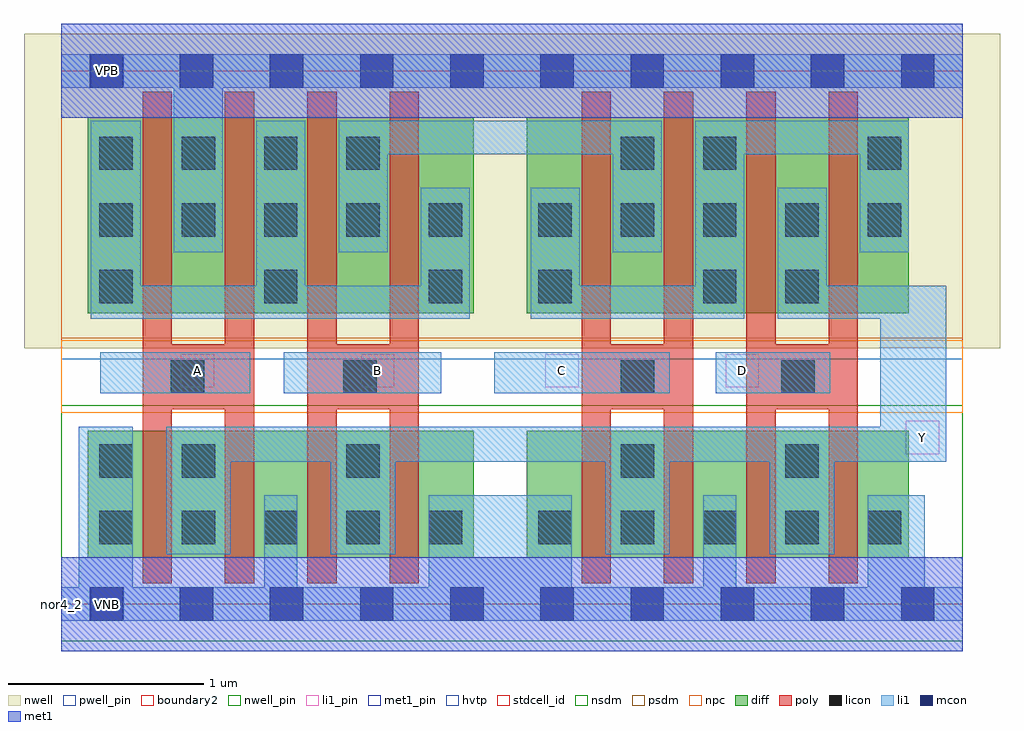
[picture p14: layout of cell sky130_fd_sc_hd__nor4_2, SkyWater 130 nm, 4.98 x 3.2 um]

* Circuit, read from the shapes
.subckt sky130_fd_sc_hd__nor4_2 A B C D VGND VNB VPB VPWR Y
XM1 Y A VGND VNB sky130_fd_pr__nfet_01v8 w=0.65 l=0.15 m=2
XM2 Y B VGND VNB sky130_fd_pr__nfet_01v8 w=0.65 l=0.15 m=2
XM3 Y C VGND VNB sky130_fd_pr__nfet_01v8 w=0.65 l=0.15 m=2
XM4 Y D VGND VNB sky130_fd_pr__nfet_01v8 w=0.65 l=0.15 m=2
XM5 VPWR A n1 VPB sky130_fd_pr__pfet_01v8_hvt w=1 l=0.15 m=2
XM6 n2 B n1 VPB sky130_fd_pr__pfet_01v8_hvt w=1 l=0.15 m=2
XM7 n2 C n3 VPB sky130_fd_pr__pfet_01v8_hvt w=1 l=0.15 m=2
XM8 Y D n3 VPB sky130_fd_pr__pfet_01v8_hvt w=1 l=0.15 m=2
.ends

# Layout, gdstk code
import gdstk
lib = gdstk.Library(unit=1e-6, precision=1e-09)
def R(c, l, rs):  # rectangles x0, y0, x1, y1
    for r in rs: c.add(gdstk.rectangle(r[:2], r[2:], *l))
def A(c, l, x, y, w, h, nx, ny, dx, dy):  # array of equal rectangles
    R(c, l, [(x+i*dx, y+j*dy, x+i*dx+w, y+j*dy+h) for i in range(nx) for j in range(ny)])
def P(c, l, *ps):  # polygons
    for p in ps: c.add(gdstk.Polygon(p, *l))
nwell_pin = (64, 16)
nwell = (64, 20)
diff = (65, 20)
poly = (66, 20)
licon = (66, 44)
li1_pin = (67, 16)
li1 = (67, 20)
mcon = (67, 44)
met1_pin = (68, 16)
met1 = (68, 20)
hvtp = (78, 44)
stdcell_id = (81, 4)
nsdm = (93, 44)
psdm = (94, 20)
npc = (95, 20)
pwell_pin = (122, 16)
boundary2 = (236, 0)

sky130_fd_sc_hd__nor4_2 = lib.new_cell('sky130_fd_sc_hd__nor4_2')
R(sky130_fd_sc_hd__nor4_2, nwell_pin, [(0.15,2.635,0.32,2.805)])
R(sky130_fd_sc_hd__nor4_2, nwell, [(-0.19,1.305,4.79,2.91)])
R(sky130_fd_sc_hd__nor4_2, diff, [(0.135,0.235,2.105,0.885), (2.375,0.235,4.325,0.885), (0.135,1.485,2.105,2.485), (2.375,1.485,4.325,2.485)])
P(sky130_fd_sc_hd__nor4_2, poly, [(3.225,2.615),(3.075,2.615),(3.075,1.325),(2.805,1.325),(2.805,2.615),(2.655,2.615),(2.655,0.105),(2.805,0.105),(2.805,0.995),(3.075,0.995),(3.075,0.105),(3.225,0.105)],
  [(1.825,2.615),(1.675,2.615),(1.675,1.325),(1.405,1.325),(1.405,2.615),(1.255,2.615),(1.255,0.105),(1.405,0.105),(1.405,0.995),(1.675,0.995),(1.675,0.105),(1.825,0.105)],
  [(4.065,2.615),(3.915,2.615),(3.915,1.325),(3.645,1.325),(3.645,2.615),(3.495,2.615),(3.495,0.105),(3.645,0.105),(3.645,0.995),(3.915,0.995),(3.915,0.105),(4.065,0.105)],
  [(0.985,2.615),(0.835,2.615),(0.835,1.325),(0.565,1.325),(0.565,2.615),(0.415,2.615),(0.415,0.105),(0.565,0.105),(0.565,0.995),(0.835,0.995),(0.835,0.105),(0.985,0.105)])
A(sky130_fd_sc_hd__nor4_2, licon, 0.195, 0.305, 0.17, 0.17, 5, 2, 0.42, 1.57)
A(sky130_fd_sc_hd__nor4_2, licon, 2.435, 0.305, 0.17, 0.17, 5, 2, 0.42, 1.57)
A(sky130_fd_sc_hd__nor4_2, licon, 0.195, 1.535, 0.17, 0.17, 3, 1, 0.84, 0)
A(sky130_fd_sc_hd__nor4_2, licon, 0.195, 2.215, 0.17, 0.17, 4, 1, 0.42, 0)
R(sky130_fd_sc_hd__nor4_2, licon, [(0.195,0.645,0.365,0.815), (0.615,0.645,0.785,0.815), (1.455,0.645,1.625,0.815), (2.855,0.645,3.025,0.815), (3.695,0.645,3.865,0.815), (0.56,1.075,0.73,1.245), (1.44,1.075,1.61,1.245), (2.855,1.075,3.025,1.245), (3.675,1.075,3.845,1.245), (2.435,1.535,2.605,1.705), (3.275,1.535,3.445,1.705), (3.695,1.535,3.865,1.705), (2.855,2.215,3.025,2.385), (3.275,2.215,3.445,2.385), (4.115,2.215,4.285,2.385)])
R(sky130_fd_sc_hd__nor4_2, li1_pin, [(4.31,0.765,4.48,0.935), (0.61,1.105,0.78,1.275), (1.53,1.105,1.7,1.275), (2.47,1.105,2.64,1.275), (3.39,1.105,3.56,1.275)])
R(sky130_fd_sc_hd__nor4_2, li1, [(0.2,1.075,0.965,1.285), (1.135,1.075,1.94,1.285), (2.21,1.075,3.105,1.285), (3.34,1.075,3.925,1.285)])
P(sky130_fd_sc_hd__nor4_2, li1, [(4.6,0.085),(4.405,0.085),(4.405,0.555),(4.115,0.555),(4.115,0.085),(3.445,0.085),(3.445,0.555),(3.275,0.555),(3.275,0.085),(2.605,0.085),(2.605,0.555),(1.875,0.555),(1.875,0.085),(1.205,0.085),(1.205,0.555),(1.035,0.555),(1.035,0.085),(0.365,0.085),(0.365,0.905),(0.09,0.905),(0.09,0.085),(0,0.085),(0,-0.085),(4.6,-0.085)],
  [(4.6,2.805),(0,2.805),(0,2.635),(0.575,2.635),(0.575,1.795),(0.825,1.795),(0.825,2.635),(4.6,2.635)],
  [(2.085,2.125),(1.835,2.125),(1.835,1.625),(1.245,1.625),(1.245,2.465),(0.995,2.465),(0.995,1.625),(0.405,1.625),(0.405,2.465),(0.15,2.465),(0.15,1.455),(2.085,1.455)],
  [(3.065,2.465),(1.415,2.465),(1.415,1.795),(1.665,1.795),(1.665,2.295),(2.815,2.295),(2.815,1.795),(3.065,1.795)],
  [(4.325,2.465),(3.235,2.465),(3.235,1.625),(2.645,1.625),(2.645,2.125),(2.395,2.125),(2.395,1.455),(3.485,1.455),(3.485,2.295),(4.075,2.295),(4.075,1.795),(4.325,1.795)],
  [(4.515,1.625),(3.905,1.625),(3.905,2.125),(3.655,2.125),(3.655,1.455),(4.18,1.455),(4.18,0.905),(0.535,0.905),(0.535,0.255),(0.865,0.255),(0.865,0.725),(1.375,0.725),(1.375,0.255),(1.705,0.255),(1.705,0.725),(2.775,0.725),(2.775,0.255),(3.105,0.255),(3.105,0.725),(3.615,0.725),(3.615,0.255),(3.945,0.255),(3.945,0.725),(4.515,0.725)])
A(sky130_fd_sc_hd__nor4_2, mcon, 0.145, -0.085, 0.17, 0.17, 10, 2, 0.46, 2.72)
R(sky130_fd_sc_hd__nor4_2, met1_pin, [(0.15,-0.085,0.32,0.085), (0.15,2.635,0.32,2.805)])
R(sky130_fd_sc_hd__nor4_2, hvtp, [(0,1.25,4.6,2.72)])
R(sky130_fd_sc_hd__nor4_2, stdcell_id, [(0,0,4.6,2.72)])
R(sky130_fd_sc_hd__nor4_2, nsdm, [(0,-0.19,4.6,1.015)])
R(sky130_fd_sc_hd__nor4_2, psdm, [(0,1.355,4.6,2.91)])
R(sky130_fd_sc_hd__nor4_2, npc, [(0,0.975,4.6,1.345)])
R(sky130_fd_sc_hd__nor4_2, pwell_pin, [(0.15,-0.085,0.32,0.085)])
R(sky130_fd_sc_hd__nor4_2, boundary2, [(0,0,4.6,2.72)])
sky130_fd_sc_hd__nor4_2.add(gdstk.FlexPath([(0,2.72),(4.6,2.72)], 0.48, ends="flush", simple_path=True, layer=68, datatype=20))  # met1
sky130_fd_sc_hd__nor4_2.add(gdstk.FlexPath([(0,0),(4.6,0)], 0.48, ends="flush", simple_path=True, layer=68, datatype=20))  # met1
sky130_fd_sc_hd__nor4_2.add(gdstk.Label('C', (2.555,1.19), layer=67, texttype=5))
sky130_fd_sc_hd__nor4_2.add(gdstk.Label('D', (3.475,1.19), layer=67, texttype=5))
sky130_fd_sc_hd__nor4_2.add(gdstk.Label('Y', (4.395,0.85), layer=67, texttype=5))
sky130_fd_sc_hd__nor4_2.add(gdstk.Label('A', (0.695,1.19), layer=67, texttype=5))
sky130_fd_sc_hd__nor4_2.add(gdstk.Label('B', (1.615,1.19), layer=67, texttype=5))
sky130_fd_sc_hd__nor4_2.add(gdstk.Label('VNB', (0.235,0), layer=64, texttype=59))
sky130_fd_sc_hd__nor4_2.add(gdstk.Label('VPB', (0.235,2.72), layer=64, texttype=5))
sky130_fd_sc_hd__nor4_2.add(gdstk.Label('VGND', (0.23,0), layer=68, texttype=5))
sky130_fd_sc_hd__nor4_2.add(gdstk.Label('VPWR', (0.23,2.72), layer=68, texttype=5))
sky130_fd_sc_hd__nor4_2.add(gdstk.Label('nor4_2', (0,0), layer=83, texttype=44))

lib.write_gds('sky130_fd_sc_hd__nor4_2.gds')
